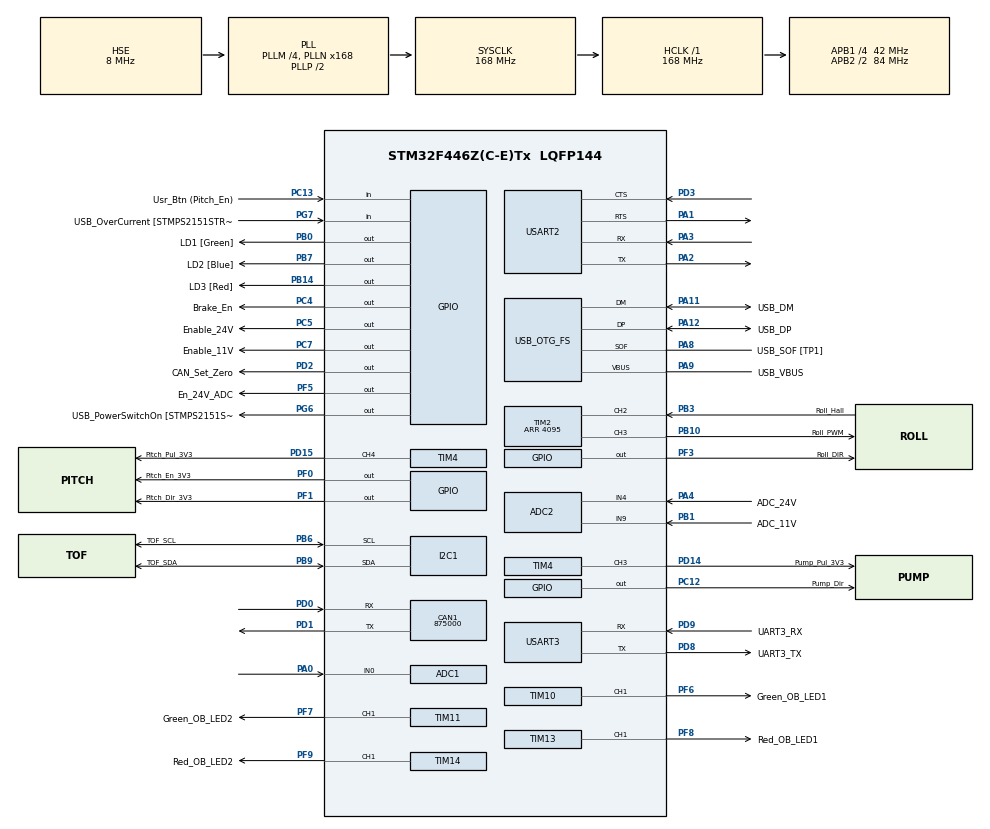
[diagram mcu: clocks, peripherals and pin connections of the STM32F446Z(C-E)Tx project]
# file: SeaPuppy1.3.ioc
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ADC1.Channel-1\#ChannelRegularConversion=ADC_CHANNEL_0
ADC1.NbrOfConversionFlag=1
ADC1.Rank-1\#ChannelRegularConversion=1
ADC1.SamplingTime-1\#ChannelRegularConversion=ADC_SAMPLETIME_3CYCLES
ADC1.master=1
ADC2.Channel-4\#ChannelRegularConversion=ADC_CHANNEL_4
ADC2.NbrOfConversionFlag=1
ADC2.Rank-4\#ChannelRegularConversion=1
ADC2.SamplingTime-4\#ChannelRegularConversion=ADC_SAMPLETIME_3CYCLES
CAN1.CalculateBaudRate=875000
CAN1.CalculateTimeBit=1142
CAN1.CalculateTimeQuantum=380.95238095238096
Dma.Request0=USART3_RX
Dma.Request1=USART3_TX
Dma.USART3_RX.0.Direction=DMA_PERIPH_TO_MEMORY
Dma.USART3_RX.0.FIFOMode=DMA_FIFOMODE_DISABLE
Dma.USART3_RX.0.Instance=DMA1_Stream1
Dma.USART3_RX.0.MemDataAlignment=DMA_MDATAALIGN_BYTE
Dma.USART3_RX.0.MemInc=DMA_MINC_ENABLE
Dma.USART3_RX.0.Mode=DMA_CIRCULAR
Dma.USART3_RX.0.PeriphDataAlignment=DMA_PDATAALIGN_BYTE
Dma.USART3_RX.0.PeriphInc=DMA_PINC_DISABLE
Dma.USART3_RX.0.Priority=DMA_PRIORITY_VERY_HIGH
Dma.USART3_TX.1.Direction=DMA_MEMORY_TO_PERIPH
Dma.USART3_TX.1.FIFOMode=DMA_FIFOMODE_DISABLE
Dma.USART3_TX.1.Instance=DMA1_Stream3
Dma.USART3_TX.1.MemDataAlignment=DMA_MDATAALIGN_BYTE
Dma.USART3_TX.1.MemInc=DMA_MINC_ENABLE
Dma.USART3_TX.1.Mode=DMA_NORMAL
Dma.USART3_TX.1.PeriphDataAlignment=DMA_PDATAALIGN_BYTE
Dma.USART3_TX.1.PeriphInc=DMA_PINC_DISABLE
Dma.USART3_TX.1.Priority=DMA_PRIORITY_VERY_HIGH
FREERTOS.Tasks01=defaultTask,24,3000,StartDefaultTask,Default,NULL,Static,defaultTaskBuffer,defaultTaskControlBlock;Actuate,24,128,StartActuate,Default,NULL,Static,ActuateBuffer,ActuateControlBlock;tofDistTask,24,128,StartDistTask,Default,NULL,Static,tosDistTaskBuffer,tosDistTaskControlBlock;rollEncoderTask,24,128,StartRollTask,Default,NULL,Static,rollEncoderTaskBuffer,rollEncoderTaskControlBlock
FREERTOS.configUSE_NEWLIB_REENTRANT=1
Mcu.Family=STM32F4
Mcu.Name=STM32F446Z(C-E)Tx
Mcu.Package=LQFP144
NVIC.DMA1_Stream1_IRQn=true\:5\:0\:false\:false\:true\:true\:false\:true\:true
NVIC.DMA1_Stream3_IRQn=true\:5\:0\:false\:false\:true\:true\:false\:true\:true
NVIC.PriorityGroup=NVIC_PRIORITYGROUP_4
NVIC.TIM1_UP_TIM10_IRQn=true\:15\:0\:false\:false\:true\:false\:false\:true\:true
NVIC.TIM2_IRQn=true\:5\:0\:false\:false\:true\:true\:true\:true\:true
NVIC.TimeBase=TIM1_UP_TIM10_IRQn
NVIC.TimeBaseIP=TIM1
NVIC.USART3_IRQn=true\:5\:0\:false\:false\:true\:true\:true\:true\:true
PA0-WKUP.Signal=ADCx_IN0
PA1.Mode=CTS_RTS
PA1.Signal=USART2_RTS
PA11.GPIO_Label=USB_DM
PA11.Mode=Device_Only
PA11.Signal=USB_OTG_FS_DM
PA12.GPIO_Label=USB_DP
PA12.Mode=Device_Only
PA12.Signal=USB_OTG_FS_DP
PA13.GPIO_Label=TMS
PA13.Mode=Serial_Wire
PA13.Signal=SYS_JTMS-SWDIO
PA14.GPIO_Label=TCK
PA14.Mode=Serial_Wire
PA14.Signal=SYS_JTCK-SWCLK
PA2.Mode=Asynchronous
PA2.Signal=USART2_TX
PA3.Mode=Asynchronous
PA3.Signal=USART2_RX
PA4.GPIO_Label=ADC_24V
PA4.Signal=ADCx_IN4
PA8.GPIO_Label=USB_SOF [TP1]
PA8.Mode=Activate_SOF_FS
PA8.Signal=USB_OTG_FS_SOF
PA9.GPIO_Label=USB_VBUS
PA9.Mode=Activate_VBUS
PA9.Signal=USB_OTG_FS_VBUS
PB0.GPIO_Label=LD1 [Green]
PB0.Signal=GPIO_Output
PB1.GPIO_Label=ADC_11V
PB1.Signal=ADCx_IN9
PB10.GPIO_Label=Roll_PWM
PB10.Signal=S_TIM2_CH3
PB14.GPIO_Label=LD3 [Red]
PB14.Signal=GPIO_Output
PB3.GPIO_Label=Roll_Hall
PB3.Signal=S_TIM2_CH2
PB6.GPIO_Label=TOF_SCL
PB6.Mode=I2C
PB6.Signal=I2C1_SCL
PB7.GPIO_Label=LD2 [Blue]
PB7.Signal=GPIO_Output
PB9.GPIO_Label=TOF_SDA
PB9.Mode=I2C
PB9.Signal=I2C1_SDA
PC12.GPIO_Label=Pump_Dir
PC12.Signal=GPIO_Output
PC13.GPIO_Label=Usr_Btn (Pitch_En)
PC13.GPIO_PuPd=GPIO_PULLUP
PC13.Signal=GPIO_Input
PC14-OSC32_IN.Mode=LSE-External-Oscillator
PC14-OSC32_IN.Signal=RCC_OSC32_IN
PC15-OSC32_OUT.Mode=LSE-External-Oscillator
PC15-OSC32_OUT.Signal=RCC_OSC32_OUT
PC4.GPIO_Label=Brake_En
PC4.Signal=GPIO_Output
PC5.GPIO_Label=Enable_24V
PC5.Signal=GPIO_Output
PC7.GPIO_Label=Enable_11V
PC7.Signal=GPIO_Output
PD0.Mode=CAN_Activate
PD0.Signal=CAN1_RX
PD1.Mode=CAN_Activate
PD1.Signal=CAN1_TX
PD14.GPIO_Label=Pump_Pul_3V3
PD14.Signal=S_TIM4_CH3
PD15.GPIO_Label=Pitch_Pul_3V3
PD15.Signal=S_TIM4_CH4
PD2.GPIO_Label=CAN_Set_Zero
PD2.Signal=GPIO_Output
PD3.Mode=CTS_RTS
PD3.Signal=USART2_CTS
PD8.GPIO_Label=UART3_TX
PD8.Mode=Asynchronous
PD8.Signal=USART3_TX
PD9.GPIO_Label=UART3_RX
PD9.Mode=Asynchronous
PD9.Signal=USART3_RX
PF0.GPIO_Label=Pitch_En_3V3
PF0.Signal=GPIO_Output
PF1.GPIO_Label=Pitch_Dir_3V3
PF1.Signal=GPIO_Output
PF3.GPIO_Label=Roll_DIR
PF3.Signal=GPIO_Output
PF5.GPIO_Label=En_24V_ADC
PF5.Signal=GPIO_Output
PF6.GPIO_Label=Green_OB_LED1
PF6.Signal=S_TIM10_CH1
PF7.GPIO_Label=Green_OB_LED2
PF7.Signal=S_TIM11_CH1
PF8.GPIO_Label=Red_OB_LED1
PF8.Signal=S_TIM13_CH1
PF9.GPIO_Label=Red_OB_LED2
PF9.Signal=S_TIM14_CH1
PG6.GPIO_Label=USB_PowerSwitchOn [STMPS2151STR_EN]
PG6.Signal=GPIO_Output
PG7.GPIO_Label=USB_OverCurrent [STMPS2151STR_FAULT]
PG7.Signal=GPIO_Input
PH0-OSC_IN.GPIO_Label=MCO [STM32F103CBT6_PA8]
PH0-OSC_IN.Mode=HSE-External-Oscillator
PH0-OSC_IN.Signal=RCC_OSC_IN
PH1-OSC_OUT.Mode=HSE-External-Oscillator
PH1-OSC_OUT.Signal=RCC_OSC_OUT
ProjectManager.HeapSize=0x200
ProjectManager.StackSize=0x400
ProjectManager.TargetToolchain=STM32CubeIDE
RCC.48MHZClocksFreq_Value=24000000
RCC.AHBFreq_Value=168000000
RCC.APB1CLKDivider=RCC_HCLK_DIV4
RCC.APB1Freq_Value=42000000
RCC.APB1TimFreq_Value=84000000
RCC.APB2CLKDivider=RCC_HCLK_DIV2
RCC.APB2Freq_Value=84000000
RCC.APB2TimFreq_Value=168000000
RCC.CortexFreq_Value=168000000
RCC.HCLKFreq_Value=168000000
RCC.HSE_VALUE=8000000
RCC.HSI_VALUE=16000000
RCC.PLLM=4
RCC.PLLMUL=RCC_PLL_MUL9
RCC.PLLN=168
RCC.PLLQ=7
RCC.PRESCALERUSB=RCC_USBCLKSOURCE_PLL_DIV1_5
RCC.SYSCLKFreq_VALUE=168000000
RCC.SYSCLKSource=RCC_SYSCLKSOURCE_PLLCLK
RCC.SYSCLKSourceVirtual=RCC_SYSCLKSOURCE_PLLCLK
RCC.USBFreq_Value=48000000
RCC.VCOOutputFreq_Value=336000000
SH.ADCx_IN0.0=ADC1_IN0,IN0
SH.ADCx_IN4.0=ADC2_IN4,IN4
SH.ADCx_IN9.0=ADC2_IN9,IN9
SH.S_TIM10_CH1.0=TIM10_CH1,PWM Generation1 CH1
SH.S_TIM11_CH1.0=TIM11_CH1,PWM Generation1 CH1
SH.S_TIM13_CH1.0=TIM13_CH1,PWM Generation1 CH1
SH.S_TIM14_CH1.0=TIM14_CH1,PWM Generation1 CH1
SH.S_TIM2_CH2.0=TIM2_CH2,Input_Capture2_from_TI2
SH.S_TIM2_CH3.0=TIM2_CH3,PWM Generation3 CH3
SH.S_TIM4_CH3.0=TIM4_CH3,PWM Generation3 CH3
SH.S_TIM4_CH4.0=TIM4_CH4,PWM Generation4 CH4
TIM10.Channel=TIM_CHANNEL_1
TIM11.Channel=TIM_CHANNEL_1
TIM13.Channel=TIM_CHANNEL_1
TIM14.Channel=TIM_CHANNEL_1
TIM2.AutoReloadPreload=TIM_AUTORELOAD_PRELOAD_ENABLE
TIM2.Channel-Input_Capture2_from_TI2=TIM_CHANNEL_2
TIM2.Channel-PWM\ Generation3\ CH3=TIM_CHANNEL_3
TIM2.Period=4095
TIM2.Pulse-PWM\ Generation3\ CH3=2047
TIM4.AutoReloadPreload=TIM_AUTORELOAD_PRELOAD_ENABLE
TIM4.Channel-PWM\ Generation3\ CH3=TIM_CHANNEL_3
TIM4.Channel-PWM\ Generation4\ CH4=TIM_CHANNEL_4
TIM4.Pulse-PWM\ Generation3\ CH3=32765
TIM4.Pulse-PWM\ Generation4\ CH4=32765
USART2.VirtualMode=VM_ASYNC
USART3.VirtualMode=VM_ASYNC
USB_OTG_FS.VirtualMode=Device_Only
VP_FREERTOS_VS_CMSIS_V2.Mode=CMSIS_V2
VP_SYS_VS_tim1.Mode=TIM1
VP_TIM10_VS_ClockSourceINT.Mode=Enable_Timer
VP_TIM11_VS_ClockSourceINT.Mode=Enable_Timer
VP_TIM13_VS_ClockSourceINT.Mode=Enable_Timer
VP_TIM14_VS_ClockSourceINT.Mode=Enable_Timer
VP_TIM2_VS_ClockSourceINT.Mode=Internal
VP_TIM4_VS_ClockSourceINT.Mode=Internal
board=NUCLEO-F446ZE

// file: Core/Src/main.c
/* USER CODE BEGIN Header */
/**
  ******************************************************************************
  * @file           : main.c
  * @brief          : Main program body
  ******************************************************************************
  * @attention
  *
  * Copyright (c) 2025 STMicroelectronics.
  * All rights reserved.
  *
  * This software is licensed under terms that can be found in the LICENSE file
  * in the root directory of this software component.
  * If no LICENSE file comes with this software, it is provided AS-IS.
  *
  ******************************************************************************
  */
/* USER CODE END Header */
#include "main.h"
#include "cmsis_os.h"

/* USER CODE BEGIN Includes */
// Micro-ROS definitions
#include <rcl/rcl.h>
#include <rcl/error_handling.h>
#include <rclc/rclc.h>
#include <rclc/executor.h>
#include <uxr/client/transport.h>
#include <rmw_microxrcedds_c/config.h>
#include <rmw_microros/rmw_microros.h>

// std_msgs for Micro-ROS
#include <std_msgs/msg/int32.h>
#include <std_msgs/msg/u_int16.h>
#include <std_msgs/msg/string.h>

// UVEEC Custom Interface
#include <uveec_custom_interfaces/msg/raspberry_sensors_interface.h>
#include <uveec_custom_interfaces/msg/stm_sensors_interface.h>

// RCL return Check
#define RCCHECK(fn) { rcl_ret_t temp_rc = fn; if((temp_rc != RCL_RET_OK)){error_loop();}}
#define RCSOFTCHECK(fn) { rcl_ret_t temp_rc = fn; if((temp_rc != RCL_RET_OK)){error_loop();}}

// TOF sensor
#include "VL53L0X.h"
#include "stdio.h"
/* USER CODE END Includes */

typedef StaticTask_t osStaticThreadDef_t;

ADC_HandleTypeDef hadc1;
ADC_HandleTypeDef hadc2;

CAN_HandleTypeDef hcan1;

I2C_HandleTypeDef hi2c1;

TIM_HandleTypeDef htim2;
TIM_HandleTypeDef htim4;
TIM_HandleTypeDef htim10;
TIM_HandleTypeDef htim11;
TIM_HandleTypeDef htim13;
TIM_HandleTypeDef htim14;

UART_HandleTypeDef huart2;
UART_HandleTypeDef huart3;
DMA_HandleTypeDef hdma_usart3_rx;
DMA_HandleTypeDef hdma_usart3_tx;

PCD_HandleTypeDef hpcd_USB_OTG_FS;

/* Definitions for defaultTask */
osThreadId_t defaultTaskHandle;
uint32_t defaultTaskBuffer[ 3000 ];
osStaticThreadDef_t defaultTaskControlBlock;
const osThreadAttr_t defaultTask_attributes = {
  .name = "defaultTask",
  .cb_mem = &defaultTaskControlBlock,
  .cb_size = sizeof(defaultTaskControlBlock),
  .stack_mem = &defaultTaskBuffer[0],
  .stack_size = sizeof(defaultTaskBuffer),
  .priority = (osPriority_t) osPriorityNormal,
};
/* Definitions for Actuate */
osThreadId_t ActuateHandle;
uint32_t ActuateBuffer[ 128 ];
osStaticThreadDef_t ActuateControlBlock;
const osThreadAttr_t Actuate_attributes = {
  .name = "Actuate",
  .cb_mem = &ActuateControlBlock,
  .cb_size = sizeof(ActuateControlBlock),
  .stack_mem = &ActuateBuffer[0],
  .stack_size = sizeof(ActuateBuffer),
  .priority = (osPriority_t) osPriorityNormal,
};
/* Definitions for tofDistTask */
osThreadId_t tofDistTaskHandle;
uint32_t tosDistTaskBuffer[ 128 ];
osStaticThreadDef_t tosDistTaskControlBlock;
const osThreadAttr_t tofDistTask_attributes = {
  .name = "tofDistTask",
  .cb_mem = &tosDistTaskControlBlock,
  .cb_size = sizeof(tosDistTaskControlBlock),
  .stack_mem = &tosDistTaskBuffer[0],
  .stack_size = sizeof(tosDistTaskBuffer),
  .priority = (osPriority_t) osPriorityNormal,
};
/* Definitions for rollEncoderTask */
osThreadId_t rollEncoderTaskHandle;
uint32_t rollEncoderTaskBuffer[ 128 ];
osStaticThreadDef_t rollEncoderTaskControlBlock;
const osThreadAttr_t rollEncoderTask_attributes = {
  .name = "rollEncoderTask",
  .cb_mem = &rollEncoderTaskControlBlock,
  .cb_size = sizeof(rollEncoderTaskControlBlock),
  .stack_mem = &rollEncoderTaskBuffer[0],
  .stack_size = sizeof(rollEncoderTaskBuffer),
  .priority = (osPriority_t) osPriorityNormal,
};
/* USER CODE BEGIN PV */
rcl_node_t node;
rclc_support_t support;
rcl_allocator_t allocator;
rclc_executor_t executor;

// publisher
rcl_publisher_t publisher;

uveec_custom_interfaces__msg__StmSensorsInterface pub_msg;
rcl_timer_t timer;

// subscriber
rcl_subscription_t subscriber;
uveec_custom_interfaces__msg__RaspberrySensorsInterface sub_msg;

const unsigned int timer_period = RCL_MS_TO_NS(10);
const int timeout_ms = 1000;
const float min_tof_distance = 40.7;
const float max_tof_distance = 161.6;

int32_t blinkCounter = 5;
float depthsensor = 0;
float rollHull = 0;

volatile uint32_t last_ts = 0;
volatile uint32_t last_period = 0;
volatile uint32_t pulse_count = 0;
volatile float rpm = 0;

uint16_t distance;
int pitch_direction = 0;
/* USER CODE END PV */

void SystemClock_Config(void);
static void MX_GPIO_Init(void);
static void MX_DMA_Init(void);
static void MX_USART3_UART_Init(void);
static void MX_USB_OTG_FS_PCD_Init(void);
static void MX_TIM4_Init(void);
static void MX_ADC1_Init(void);
static void MX_CAN1_Init(void);
static void MX_USART2_UART_Init(void);
static void MX_I2C1_Init(void);
static void MX_TIM2_Init(void);
static void MX_ADC2_Init(void);
static void MX_TIM10_Init(void);
static void MX_TIM11_Init(void);
static void MX_TIM13_Init(void);
static void MX_TIM14_Init(void);
void StartDefaultTask(void *argument);
void StartActuate(void *argument);
void StartDistTask(void *argument);
void StartRollTask(void *argument);

/* USER CODE BEGIN PFP */
void subscription_callback(const void *msgin);

void error_loop(){}
/* USER CODE END PFP */

/* USER CODE BEGIN 0 */
// subscription_callback. Triggered by subscriber executor
void subscription_callback(const void * msgin)
{
  // Cast received message to used type
  // const std_msgs__msg__Int32 * msg = (const std_msgs__msg__Int32 *)msgin;
  const uveec_custom_interfaces__msg__RaspberrySensorsInterface * raspmsg = (const uveec_custom_interfaces__msg__RaspberrySensorsInterface *) msgin;

  // Process message
  // blinkCounter = msg->data;
  blinkCounter = (int) raspmsg->depthsensor;
  pub_msg.gpslatitude = (int) raspmsg->depthsensor;
}

void timer_callback(rcl_timer_t *timer, int64_t last_call_time) {
	// static uint8_t cnt = 0;

	// if (timer != NULL) {
		// Sync micro-ROS session
		// rmw_uros_sync_session(timeout_ms);

		// Toggle LED every 50 cycles (approximately every 0.5 seconds)
		// if (cnt == 0)
			// HAL_GPIO_TogglePin(LD2_GPIO_Port, LD2_Pin);
		// cnt = (cnt + 1) % 50;

		// pub_msg.data++;
		// TODO pub_msg.gpslatitude = 0;
		// TODO pub_msg.gpslongitude = 1;
		// TODO pub_msg.micropumpencoder = depthsensor;
		// TODO pub_msg.pitchencoder = 2;
		// TODO pub_msg.rollencoder = 3;

		// Publish the message
		// rcl_publish(&publisher, &pub_msg, NULL);
		// rcl_publish(&dist_publisher, &dist_msg, NULL);

		// Reinitialize watchdog timer
		// HAL_IWDG_Init(&hiwdg);
	// }
}

// Using TIM2_CH1 for FG signal
void HAL_TIM_IC_CaptureCallback(TIM_HandleTypeDef *htim) {
    if(htim->Channel == HAL_TIM_ACTIVE_CHANNEL_1) {
        static uint32_t lastCapture = 0;
        uint32_t now = HAL_TIM_ReadCapturedValue(htim, TIM_CHANNEL_1);
        uint32_t period = (now >= lastCapture) ? (now - lastCapture) : (0xFFFF - lastCapture + now);
        lastCapture = now;

        float freq = (float)HAL_RCC_GetPCLK1Freq() / (htim->Init.Prescaler + 1) / period;
        rpm = (60.0f * freq) / 9.0f;
        rpm = 1;
        // store rpm somewhere
    }
}

float get_angle_deg(void) {
    // coarse sector:
    uint32_t sector = (pulse_count % 9);
    float base = sector * 40.0f;
    // fraction interpolation:
    uint32_t now = HAL_GetTick();
    uint32_t elapsed = (now >= last_ts) ? (now - last_ts) : (0xFFFFFFFF - last_ts + now);
    float fraction = (last_period > 0) ? ((float)elapsed / (float)last_period) : 0.0f;
    if (fraction > 1.0f) fraction = 1.0f;
    return (int32_t) rpm;
}

int change_pitch_direction(int dir) {
	if (pitch_direction == 0 && dir == 1) { // pitch motor is getting closer to tof
		HAL_TIM_PWM_Stop(&htim4, TIM_CHANNEL_4);
		HAL_Delay(100);
		HAL_GPIO_WritePin(Pitch_Dir_3V3_GPIO_Port, Pitch_Dir_3V3_Pin, GPIO_PIN_SET);
		HAL_GPIO_WritePin(LD1_GPIO_Port, LD1_Pin, GPIO_PIN_SET);
		HAL_Delay(100);
		HAL_TIM_PWM_Start(&htim4, TIM_CHANNEL_4);
		pitch_direction = 1;
		return 1;
	} else if (pitch_direction == 1 && dir == 0) { // pitch motor is getting further from tof
		HAL_TIM_PWM_Stop(&htim4, TIM_CHANNEL_4);
		HAL_Delay(100);
		HAL_GPIO_WritePin(Pitch_Dir_3V3_GPIO_Port, Pitch_Dir_3V3_Pin, GPIO_PIN_RESET);
		HAL_GPIO_WritePin(LD1_GPIO_Port, LD1_Pin, GPIO_PIN_RESET);
		HAL_Delay(100);
		HAL_TIM_PWM_Start(&htim4, TIM_CHANNEL_4);
		pitch_direction = 0;
		return 0;
	}
	return -1;
}

/* USER CODE END 0 */

int main(void)
{

  /* USER CODE BEGIN 1 */
	blinkCounter = 5;

  /* USER CODE END 1 */

  /* MCU Configuration--------------------------------------------------------*/

  /* Reset of all peripherals, Initializes the Flash interface and the Systick. */
  HAL_Init();

  /* Configure the system clock */
  SystemClock_Config();

  /* Initialize all configured peripherals */
  MX_GPIO_Init();
  MX_DMA_Init();
  MX_USART3_UART_Init();
  MX_USB_OTG_FS_PCD_Init();
  MX_TIM4_Init();
  MX_ADC1_Init();
  MX_CAN1_Init();
  MX_USART2_UART_Init();
  MX_I2C1_Init();
  MX_TIM2_Init();
  MX_ADC2_Init();
  MX_TIM10_Init();
  MX_TIM11_Init();
  MX_TIM13_Init();
  MX_TIM14_Init();
  /* USER CODE BEGIN 2 */

  HAL_GPIO_WritePin(LD3_GPIO_Port, LD3_Pin, GPIO_PIN_SET);

  while (blinkCounter > 0)
  {
	HAL_GPIO_WritePin(GPIOB, LD2_Pin, GPIO_PIN_SET);
	HAL_Delay(100);
	HAL_GPIO_WritePin(GPIOB, LD2_Pin, GPIO_PIN_RESET);
	HAL_Delay(100);
	blinkCounter -= 1;
  }

  HAL_TIM_PWM_Start(&htim2, TIM_CHANNEL_3);
  while(HAL_GPIO_ReadPin(Roll_Hall_GPIO_Port, Roll_Hall_Pin) == GPIO_PIN_SET) {

  }
  htim2.Instance->CCR3 = 4095;
  HAL_TIM_PWM_Stop(&htim2, TIM_CHANNEL_3);
  HAL_GPIO_WritePin(LD3_GPIO_Port, LD3_Pin, GPIO_PIN_RESET);
  /* USER CODE END 2 */

  /* Init scheduler */
  osKernelInitialize();

  /* Create the thread(s) */
  /* creation of defaultTask */
  defaultTaskHandle = osThreadNew(StartDefaultTask, NULL, &defaultTask_attributes);

  /* creation of Actuate */
  ActuateHandle = osThreadNew(StartActuate, NULL, &Actuate_attributes);

  /* creation of tofDistTask */
  tofDistTaskHandle = osThreadNew(StartDistTask, NULL, &tofDistTask_attributes);

  /* creation of rollEncoderTask */
  rollEncoderTaskHandle = osThreadNew(StartRollTask, NULL, &rollEncoderTask_attributes);

  /* Start scheduler */
  osKernelStart();

  /* We should never get here as control is now taken by the scheduler */

  /* Infinite loop */
  while (1)
  {

  }
}

void SystemClock_Config(void)
{
  RCC_OscInitTypeDef RCC_OscInitStruct = {0};
  RCC_ClkInitTypeDef RCC_ClkInitStruct = {0};

  /** Configure the main internal regulator output voltage
  */
  __HAL_RCC_PWR_CLK_ENABLE();
  __HAL_PWR_VOLTAGESCALING_CONFIG(PWR_REGULATOR_VOLTAGE_SCALE1);

  /** Initializes the RCC Oscillators according to the specified parameters
  * in the RCC_OscInitTypeDef structure.
  */
  RCC_OscInitStruct.OscillatorType = RCC_OSCILLATORTYPE_HSE;
  RCC_OscInitStruct.HSEState = RCC_HSE_ON;
  RCC_OscInitStruct.PLL.PLLState = RCC_PLL_ON;
  RCC_OscInitStruct.PLL.PLLSource = RCC_PLLSOURCE_HSE;
  RCC_OscInitStruct.PLL.PLLM = 4;
  RCC_OscInitStruct.PLL.PLLN = 168;
  RCC_OscInitStruct.PLL.PLLP = RCC_PLLP_DIV2;
  RCC_OscInitStruct.PLL.PLLQ = 7;
  RCC_OscInitStruct.PLL.PLLR = 2;
  if (HAL_RCC_OscConfig(&RCC_OscInitStruct) != HAL_OK)
  {
    Error_Handler();
  }

  /** Initializes the CPU, AHB and APB buses clocks
  */
  RCC_ClkInitStruct.ClockType = RCC_CLOCKTYPE_HCLK|RCC_CLOCKTYPE_SYSCLK
                              |RCC_CLOCKTYPE_PCLK1|RCC_CLOCKTYPE_PCLK2;
  RCC_ClkInitStruct.SYSCLKSource = RCC_SYSCLKSOURCE_PLLCLK;
  RCC_ClkInitStruct.AHBCLKDivider = RCC_SYSCLK_DIV1;
  RCC_ClkInitStruct.APB1CLKDivider = RCC_HCLK_DIV4;
  RCC_ClkInitStruct.APB2CLKDivider = RCC_HCLK_DIV2;

  if (HAL_RCC_ClockConfig(&RCC_ClkInitStruct, FLASH_LATENCY_5) != HAL_OK)
  {
    Error_Handler();
  }
}

static void MX_ADC1_Init(void)
{

  ADC_ChannelConfTypeDef sConfig = {0};

  /** Configure the global features of the ADC (Clock, Resolution, Data Alignment and number of conversion)
  */
  hadc1.Instance = ADC1;
  hadc1.Init.ClockPrescaler = ADC_CLOCK_SYNC_PCLK_DIV4;
  hadc1.Init.Resolution = ADC_RESOLUTION_12B;
  hadc1.Init.ScanConvMode = DISABLE;
  hadc1.Init.ContinuousConvMode = DISABLE;
  hadc1.Init.DiscontinuousConvMode = DISABLE;
  hadc1.Init.ExternalTrigConvEdge = ADC_EXTERNALTRIGCONVEDGE_NONE;
  hadc1.Init.ExternalTrigConv = ADC_SOFTWARE_START;
  hadc1.Init.DataAlign = ADC_DATAALIGN_RIGHT;
  hadc1.Init.NbrOfConversion = 1;
  hadc1.Init.DMAContinuousRequests = DISABLE;
  hadc1.Init.EOCSelection = ADC_EOC_SINGLE_CONV;
  if (HAL_ADC_Init(&hadc1) != HAL_OK)
  {
    Error_Handler();
  }

  /** Configure for the selected ADC regular channel its corresponding rank in the sequencer and its sample time.
  */
  sConfig.Channel = ADC_CHANNEL_0;
  sConfig.Rank = 1;
  sConfig.SamplingTime = ADC_SAMPLETIME_3CYCLES;
  if (HAL_ADC_ConfigChannel(&hadc1, &sConfig) != HAL_OK)
  {
    Error_Handler();
  }

}

static void MX_ADC2_Init(void)
{

  ADC_ChannelConfTypeDef sConfig = {0};

  /** Configure the global features of the ADC (Clock, Resolution, Data Alignment and number of conversion)
  */
  hadc2.Instance = ADC2;
  hadc2.Init.ClockPrescaler = ADC_CLOCK_SYNC_PCLK_DIV4;
  hadc2.Init.Resolution = ADC_RESOLUTION_12B;
  hadc2.Init.ScanConvMode = DISABLE;
  hadc2.Init.ContinuousConvMode = DISABLE;
  hadc2.Init.DiscontinuousConvMode = DISABLE;
  hadc2.Init.ExternalTrigConvEdge = ADC_EXTERNALTRIGCONVEDGE_NONE;
  hadc2.Init.ExternalTrigConv = ADC_SOFTWARE_START;
  hadc2.Init.DataAlign = ADC_DATAALIGN_RIGHT;
  hadc2.Init.NbrOfConversion = 1;
  hadc2.Init.DMAContinuousRequests = DISABLE;
  hadc2.Init.EOCSelection = ADC_EOC_SINGLE_CONV;
  if (HAL_ADC_Init(&hadc2) != HAL_OK)
  {
    Error_Handler();
  }

  /** Configure for the selected ADC regular channel its corresponding rank in the sequencer and its sample time.
  */
  sConfig.Channel = ADC_CHANNEL_4;
  sConfig.Rank = 1;
  sConfig.SamplingTime = ADC_SAMPLETIME_3CYCLES;
  if (HAL_ADC_ConfigChannel(&hadc2, &sConfig) != HAL_OK)
  {
    Error_Handler();
  }

}

static void MX_CAN1_Init(void)
{

  hcan1.Instance = CAN1;
  hcan1.Init.Prescaler = 16;
  hcan1.Init.Mode = CAN_MODE_NORMAL;
  hcan1.Init.SyncJumpWidth = CAN_SJW_1TQ;
  hcan1.Init.TimeSeg1 = CAN_BS1_1TQ;
  hcan1.Init.TimeSeg2 = CAN_BS2_1TQ;
  hcan1.Init.TimeTriggeredMode = DISABLE;
  hcan1.Init.AutoBusOff = DISABLE;
  hcan1.Init.AutoWakeUp = DISABLE;
  hcan1.Init.AutoRetransmission = DISABLE;
  hcan1.Init.ReceiveFifoLocked = DISABLE;
  hcan1.Init.TransmitFifoPriority = DISABLE;
  if (HAL_CAN_Init(&hcan1) != HAL_OK)
  {
    Error_Handler();
  }

}

static void MX_I2C1_Init(void)
{

  hi2c1.Instance = I2C1;
  hi2c1.Init.ClockSpeed = 100000;
  hi2c1.Init.DutyCycle = I2C_DUTYCYCLE_2;
  hi2c1.Init.OwnAddress1 = 0;
  hi2c1.Init.AddressingMode = I2C_ADDRESSINGMODE_7BIT;
  hi2c1.Init.DualAddressMode = I2C_DUALADDRESS_DISABLE;
  hi2c1.Init.OwnAddress2 = 0;
  hi2c1.Init.GeneralCallMode = I2C_GENERALCALL_DISABLE;
  hi2c1.Init.NoStretchMode = I2C_NOSTRETCH_DISABLE;
  if (HAL_I2C_Init(&hi2c1) != HAL_OK)
  {
    Error_Handler();
  }

}

static void MX_TIM2_Init(void)
{

  TIM_ClockConfigTypeDef sClockSourceConfig = {0};
  TIM_MasterConfigTypeDef sMasterConfig = {0};
  TIM_IC_InitTypeDef sConfigIC = {0};
  TIM_OC_InitTypeDef sConfigOC = {0};

  htim2.Instance = TIM2;
  htim2.Init.Prescaler = 0;
  htim2.Init.CounterMode = TIM_COUNTERMODE_UP;
  htim2.Init.Period = 4095;
  htim2.Init.ClockDivision = TIM_CLOCKDIVISION_DIV1;
  htim2.Init.AutoReloadPreload = TIM_AUTORELOAD_PRELOAD_ENABLE;
  if (HAL_TIM_Base_Init(&htim2) != HAL_OK)
  {
    Error_Handler();
  }
  sClockSourceConfig.ClockSource = TIM_CLOCKSOURCE_INTERNAL;
  if (HAL_TIM_ConfigClockSource(&htim2, &sClockSourceConfig) != HAL_OK)
  {
    Error_Handler();
  }
  if (HAL_TIM_IC_Init(&htim2) != HAL_OK)
  {
    Error_Handler();
  }
  if (HAL_TIM_PWM_Init(&htim2) != HAL_OK)
  {
    Error_Handler();
  }
  sMasterConfig.MasterOutputTrigger = TIM_TRGO_RESET;
  sMasterConfig.MasterSlaveMode = TIM_MASTERSLAVEMODE_DISABLE;
  if (HAL_TIMEx_MasterConfigSynchronization(&htim2, &sMasterConfig) != HAL_OK)
  {
    Error_Handler();
  }
  sConfigIC.ICPolarity = TIM_INPUTCHANNELPOLARITY_RISING;
  sConfigIC.ICSelection = TIM_ICSELECTION_DIRECTTI;
  sConfigIC.ICPrescaler = TIM_ICPSC_DIV1;
  sConfigIC.ICFilter = 0;
  if (HAL_TIM_IC_ConfigChannel(&htim2, &sConfigIC, TIM_CHANNEL_2) != HAL_OK)
  {
    Error_Handler();
  }
  sConfigOC.OCMode = TIM_OCMODE_PWM1;
  sConfigOC.Pulse = 2047;
  sConfigOC.OCPolarity = TIM_OCPOLARITY_HIGH;
  sConfigOC.OCFastMode = TIM_OCFAST_DISABLE;
  if (HAL_TIM_PWM_ConfigChannel(&htim2, &sConfigOC, TIM_CHANNEL_3) != HAL_OK)
  {
    Error_Handler();
  }
  HAL_TIM_MspPostInit(&htim2);

}

static void MX_TIM4_Init(void)
{

  TIM_ClockConfigTypeDef sClockSourceConfig = {0};
  TIM_MasterConfigTypeDef sMasterConfig = {0};
  TIM_OC_InitTypeDef sConfigOC = {0};

  htim4.Instance = TIM4;
  htim4.Init.Prescaler = 0;
  htim4.Init.CounterMode = TIM_COUNTERMODE_UP;
  htim4.Init.Period = 65535;
  htim4.Init.ClockDivision = TIM_CLOCKDIVISION_DIV1;
  htim4.Init.AutoReloadPreload = TIM_AUTORELOAD_PRELOAD_ENABLE;
  if (HAL_TIM_Base_Init(&htim4) != HAL_OK)
  {
    Error_Handler();
  }
  sClockSourceConfig.ClockSource = TIM_CLOCKSOURCE_INTERNAL;
  if (HAL_TIM_ConfigClockSource(&htim4, &sClockSourceConfig) != HAL_OK)
  {
    Error_Handler();
  }
  if (HAL_TIM_PWM_Init(&htim4) != HAL_OK)
  {
    Error_Handler();
  }
  sMasterConfig.MasterOutputTrigger = TIM_TRGO_RESET;
  sMasterConfig.MasterSlaveMode = TIM_MASTERSLAVEMODE_DISABLE;
  if (HAL_TIMEx_MasterConfigSynchronization(&htim4, &sMasterConfig) != HAL_OK)
  {
    Error_Handler();
  }
  sConfigOC.OCMode = TIM_OCMODE_PWM1;
  sConfigOC.Pulse = 32765;
  sConfigOC.OCPolarity = TIM_OCPOLARITY_HIGH;
  sConfigOC.OCFastMode = TIM_OCFAST_DISABLE;
  if (HAL_TIM_PWM_ConfigChannel(&htim4, &sConfigOC, TIM_CHANNEL_3) != HAL_OK)
  {
    Error_Handler();
  }
  if (HAL_TIM_PWM_ConfigChannel(&htim4, &sConfigOC, TIM_CHANNEL_4) != HAL_OK)
  {
    Error_Handler();
  }
  HAL_TIM_MspPostInit(&htim4);

}

static void MX_TIM10_Init(void)
{

  TIM_OC_InitTypeDef sConfigOC = {0};

  htim10.Instance = TIM10;
  htim10.Init.Prescaler = 0;
  htim10.Init.CounterMode = TIM_COUNTERMODE_UP;
  htim10.Init.Period = 65535;
  htim10.Init.ClockDivision = TIM_CLOCKDIVISION_DIV1;
  htim10.Init.AutoReloadPreload = TIM_AUTORELOAD_PRELOAD_DISABLE;
  if (HAL_TIM_Base_Init(&htim10) != HAL_OK)
  {
    Error_Handler();
  }
  if (HAL_TIM_PWM_Init(&htim10) != HAL_OK)
  {
    Error_Handler();
  }
  sConfigOC.OCMode = TIM_OCMODE_PWM1;
  sConfigOC.Pulse = 0;
  sConfigOC.OCPolarity = TIM_OCPOLARITY_HIGH;
  sConfigOC.OCFastMode = TIM_OCFAST_DISABLE;
  if (HAL_TIM_PWM_ConfigChannel(&htim10, &sConfigOC, TIM_CHANNEL_1) != HAL_OK)
  {
    Error_Handler();
  }
  HAL_TIM_MspPostInit(&htim10);

}

static void MX_TIM11_Init(void)
{

  TIM_OC_InitTypeDef sConfigOC = {0};

  htim11.Instance = TIM11;
  htim11.Init.Prescaler = 0;
  htim11.Init.CounterMode = TIM_COUNTERMODE_UP;
  htim11.Init.Period = 65535;
  htim11.Init.ClockDivision = TIM_CLOCKDIVISION_DIV1;
  htim11.Init.AutoReloadPreload = TIM_AUTORELOAD_PRELOAD_DISABLE;
  if (HAL_TIM_Base_Init(&htim11) != HAL_OK)
  {
    Error_Handler();
  }
  if (HAL_TIM_PWM_Init(&htim11) != HAL_OK)
  {
    Error_Handler();
  }
  sConfigOC.OCMode = TIM_OCMODE_PWM1;
  sConfigOC.Pulse = 0;
  sConfigOC.OCPolarity = TIM_OCPOLARITY_HIGH;
  sConfigOC.OCFastMode = TIM_OCFAST_DISABLE;
  if (HAL_TIM_PWM_ConfigChannel(&htim11, &sConfigOC, TIM_CHANNEL_1) != HAL_OK)
  {
    Error_Handler();
  }
  HAL_TIM_MspPostInit(&htim11);

}

static void MX_TIM13_Init(void)
{

  TIM_OC_InitTypeDef sConfigOC = {0};

  htim13.Instance = TIM13;
  htim13.Init.Prescaler = 0;
  htim13.Init.CounterMode = TIM_COUNTERMODE_UP;
  htim13.Init.Period = 65535;
  htim13.Init.ClockDivision = TIM_CLOCKDIVISION_DIV1;
  htim13.Init.AutoReloadPreload = TIM_AUTORELOAD_PRELOAD_DISABLE;
  if (HAL_TIM_Base_Init(&htim13) != HAL_OK)
  {
    Error_Handler();
  }
  if (HAL_TIM_PWM_Init(&htim13) != HAL_OK)
  {
    Error_Handler();
  }
  sConfigOC.OCMode = TIM_OCMODE_PWM1;
  sConfigOC.Pulse = 0;
  sConfigOC.OCPolarity = TIM_OCPOLARITY_HIGH;
  sConfigOC.OCFastMode = TIM_OCFAST_DISABLE;
  if (HAL_TIM_PWM_ConfigChannel(&htim13, &sConfigOC, TIM_CHANNEL_1) != HAL_OK)
  {
    Error_Handler();
  }
  HAL_TIM_MspPostInit(&htim13);

}

static void MX_TIM14_Init(void)
{

  TIM_OC_InitTypeDef sConfigOC = {0};

  htim14.Instance = TIM14;
  htim14.Init.Prescaler = 0;
  htim14.Init.CounterMode = TIM_COUNTERMODE_UP;
  htim14.Init.Period = 65535;
  htim14.Init.ClockDivision = TIM_CLOCKDIVISION_DIV1;
  htim14.Init.AutoReloadPreload = TIM_AUTORELOAD_PRELOAD_DISABLE;
  if (HAL_TIM_Base_Init(&htim14) != HAL_OK)
  {
    Error_Handler();
  }
  if (HAL_TIM_PWM_Init(&htim14) != HAL_OK)
  {
    Error_Handler();
  }
  sConfigOC.OCMode = TIM_OCMODE_PWM1;
  sConfigOC.Pulse = 0;
  sConfigOC.OCPolarity = TIM_OCPOLARITY_HIGH;
  sConfigOC.OCFastMode = TIM_OCFAST_DISABLE;
  if (HAL_TIM_PWM_ConfigChannel(&htim14, &sConfigOC, TIM_CHANNEL_1) != HAL_OK)
  {
    Error_Handler();
  }
  HAL_TIM_MspPostInit(&htim14);

}

static void MX_USART2_UART_Init(void)
{

  huart2.Instance = USART2;
  huart2.Init.BaudRate = 115200;
  huart2.Init.WordLength = UART_WORDLENGTH_8B;
  huart2.Init.StopBits = UART_STOPBITS_1;
  huart2.Init.Parity = UART_PARITY_NONE;
  huart2.Init.Mode = UART_MODE_TX_RX;
  huart2.Init.HwFlowCtl = UART_HWCONTROL_RTS_CTS;
  huart2.Init.OverSampling = UART_OVERSAMPLING_16;
  if (HAL_UART_Init(&huart2) != HAL_OK)
  {
    Error_Handler();
  }

}

static void MX_USART3_UART_Init(void)
{

  huart3.Instance = USART3;
  huart3.Init.BaudRate = 115200;
  huart3.Init.WordLength = UART_WORDLENGTH_8B;
  huart3.Init.StopBits = UART_STOPBITS_1;
  huart3.Init.Parity = UART_PARITY_NONE;
  huart3.Init.Mode = UART_MODE_TX_RX;
  huart3.Init.HwFlowCtl = UART_HWCONTROL_NONE;
  huart3.Init.OverSampling = UART_OVERSAMPLING_16;
  if (HAL_UART_Init(&huart3) != HAL_OK)
  {
    Error_Handler();
  }

}

static void MX_USB_OTG_FS_PCD_Init(void)
{

  hpcd_USB_OTG_FS.Instance = USB_OTG_FS;
  hpcd_USB_OTG_FS.Init.dev_endpoints = 6;
  hpcd_USB_OTG_FS.Init.speed = PCD_SPEED_FULL;
  hpcd_USB_OTG_FS.Init.dma_enable = DISABLE;
  hpcd_USB_OTG_FS.Init.phy_itface = PCD_PHY_EMBEDDED;
  hpcd_USB_OTG_FS.Init.Sof_enable = ENABLE;
  hpcd_USB_OTG_FS.Init.low_power_enable = DISABLE;
  hpcd_USB_OTG_FS.Init.lpm_enable = DISABLE;
  hpcd_USB_OTG_FS.Init.vbus_sensing_enable = ENABLE;
  hpcd_USB_OTG_FS.Init.use_dedicated_ep1 = DISABLE;
  if (HAL_PCD_Init(&hpcd_USB_OTG_FS) != HAL_OK)
  {
    Error_Handler();
  }

}

static void MX_DMA_Init(void)
{

  /* DMA controller clock enable */
  __HAL_RCC_DMA1_CLK_ENABLE();

  /* DMA interrupt init */
  /* DMA1_Stream1_IRQn interrupt configuration */
  HAL_NVIC_SetPriority(DMA1_Stream1_IRQn, 5, 0);
  HAL_NVIC_EnableIRQ(DMA1_Stream1_IRQn);
  /* DMA1_Stream3_IRQn interrupt configuration */
  HAL_NVIC_SetPriority(DMA1_Stream3_IRQn, 5, 0);
  HAL_NVIC_EnableIRQ(DMA1_Stream3_IRQn);

}

static void MX_GPIO_Init(void)
{
  GPIO_InitTypeDef GPIO_InitStruct = {0};

  /* GPIO Ports Clock Enable */
  __HAL_RCC_GPIOC_CLK_ENABLE();
  __HAL_RCC_GPIOF_CLK_ENABLE();
  __HAL_RCC_GPIOH_CLK_ENABLE();
  __HAL_RCC_GPIOA_CLK_ENABLE();
  __HAL_RCC_GPIOB_CLK_ENABLE();
  __HAL_RCC_GPIOD_CLK_ENABLE();
  __HAL_RCC_GPIOG_CLK_ENABLE();

  /*Configure GPIO pin Output Level */
  HAL_GPIO_WritePin(GPIOF, Pitch_En_3V3_Pin|Pitch_Dir_3V3_Pin|Roll_DIR_Pin|En_24V_ADC_Pin, GPIO_PIN_RESET);

  /*Configure GPIO pin Output Level */
  HAL_GPIO_WritePin(GPIOC, Brake_En_Pin|Enable_24V_Pin|Enable_11V_Pin|Pump_Dir_Pin, GPIO_PIN_RESET);

  /*Configure GPIO pin Output Level */
  HAL_GPIO_WritePin(GPIOB, LD1_Pin|LD3_Pin|LD2_Pin, GPIO_PIN_RESET);

  /*Configure GPIO pin Output Level */
  HAL_GPIO_WritePin(USB_PowerSwitchOn_GPIO_Port, USB_PowerSwitchOn_Pin, GPIO_PIN_RESET);

  /*Configure GPIO pin Output Level */
  HAL_GPIO_WritePin(CAN_Set_Zero_GPIO_Port, CAN_Set_Zero_Pin, GPIO_PIN_RESET);

  /*Configure GPIO pin : Usr_Btn_Pin */
  GPIO_InitStruct.Pin = Usr_Btn_Pin;
  GPIO_InitStruct.Mode = GPIO_MODE_INPUT;
  GPIO_InitStruct.Pull = GPIO_PULLUP;
  HAL_GPIO_Init(Usr_Btn_GPIO_Port, &GPIO_InitStruct);

  /*Configure GPIO pins : Pitch_En_3V3_Pin Pitch_Dir_3V3_Pin Roll_DIR_Pin En_24V_ADC_Pin */
  GPIO_InitStruct.Pin = Pitch_En_3V3_Pin|Pitch_Dir_3V3_Pin|Roll_DIR_Pin|En_24V_ADC_Pin;
  GPIO_InitStruct.Mode = GPIO_MODE_OUTPUT_PP;
  GPIO_InitStruct.Pull = GPIO_NOPULL;
  GPIO_InitStruct.Speed = GPIO_SPEED_FREQ_LOW;
  HAL_GPIO_Init(GPIOF, &GPIO_InitStruct);

  /*Configure GPIO pins : Brake_En_Pin Enable_24V_Pin Enable_11V_Pin Pump_Dir_Pin */
  GPIO_InitStruct.Pin = Brake_En_Pin|Enable_24V_Pin|Enable_11V_Pin|Pump_Dir_Pin;
  GPIO_InitStruct.Mode = GPIO_MODE_OUTPUT_PP;
  GPIO_InitStruct.Pull = GPIO_NOPULL;
  GPIO_InitStruct.Speed = GPIO_SPEED_FREQ_LOW;
  HAL_GPIO_Init(GPIOC, &GPIO_InitStruct);

  /*Configure GPIO pins : LD1_Pin LD3_Pin LD2_Pin */
  GPIO_InitStruct.Pin = LD1_Pin|LD3_Pin|LD2_Pin;
  GPIO_InitStruct.Mode = GPIO_MODE_OUTPUT_PP;
  GPIO_InitStruct.Pull = GPIO_NOPULL;
  GPIO_InitStruct.Speed = GPIO_SPEED_FREQ_LOW;
  HAL_GPIO_Init(GPIOB, &GPIO_InitStruct);

  /*Configure GPIO pin : USB_PowerSwitchOn_Pin */
  GPIO_InitStruct.Pin = USB_PowerSwitchOn_Pin;
  GPIO_InitStruct.Mode = GPIO_MODE_OUTPUT_PP;
  GPIO_InitStruct.Pull = GPIO_NOPULL;
  GPIO_InitStruct.Speed = GPIO_SPEED_FREQ_LOW;
  HAL_GPIO_Init(USB_PowerSwitchOn_GPIO_Port, &GPIO_InitStruct);

  /*Configure GPIO pin : USB_OverCurrent_Pin */
  GPIO_InitStruct.Pin = USB_OverCurrent_Pin;
  GPIO_InitStruct.Mode = GPIO_MODE_INPUT;
  GPIO_InitStruct.Pull = GPIO_NOPULL;
  HAL_GPIO_Init(USB_OverCurrent_GPIO_Port, &GPIO_InitStruct);

  /*Configure GPIO pin : CAN_Set_Zero_Pin */
  GPIO_InitStruct.Pin = CAN_Set_Zero_Pin;
  GPIO_InitStruct.Mode = GPIO_MODE_OUTPUT_PP;
  GPIO_InitStruct.Pull = GPIO_NOPULL;
  GPIO_InitStruct.Speed = GPIO_SPEED_FREQ_LOW;
  HAL_GPIO_Init(CAN_Set_Zero_GPIO_Port, &GPIO_InitStruct);

}

/* USER CODE BEGIN 4 */
// Micro-ROS Cube MX definitions
bool cubemx_transport_open(struct uxrCustomTransport * transport);
bool cubemx_transport_close(struct uxrCustomTransport * transport);
size_t cubemx_transport_write(struct uxrCustomTransport* transport, const uint8_t * buf, size_t len, uint8_t * err);
size_t cubemx_transport_read(struct uxrCustomTransport* transport, uint8_t* buf, size_t len, int timeout, uint8_t* err);

void * microros_allocate(size_t size, void * state);
void microros_deallocate(void * pointer, void * state);
void * microros_reallocate(void * pointer, size_t size, void * state);
void * microros_zero_allocate(size_t number_of_elements, size_t size_of_element, void * state);

/* USER CODE END 4 */

void StartDefaultTask(void *argument)
{
  /* USER CODE BEGIN 5 */

  // micro-ROS configuration
  rmw_uros_set_custom_transport(
    true,
    (void *) &huart3,
    cubemx_transport_open,
    cubemx_transport_close,
    cubemx_transport_write,
    cubemx_transport_read);

  allocator = rcl_get_default_allocator();

  // pub_msg.data = 0;

  //create init_options
  RCCHECK(rclc_support_init(&support, 0, NULL, &allocator));

  // create node
  RCCHECK(rclc_node_init_default(&node, "cubemx_node", "", &support));

  // create publisher
  RCCHECK(rclc_publisher_init_default(
    &publisher,
    &node,
    ROSIDL_GET_MSG_TYPE_SUPPORT(uveec_custom_interfaces, msg, StmSensorsInterface),
    "stm_sensors_topic"));

  // create subscriber
  RCCHECK(rclc_subscription_init_default(
    &subscriber,
    &node,
    ROSIDL_GET_MSG_TYPE_SUPPORT(uveec_custom_interfaces, msg, RaspberrySensorsInterface),
    "raspberry_sensors_topic"));

  // create executor (subscribing)
  RCCHECK(rclc_executor_init(&executor, &support.context, 1, &allocator));
  RCCHECK(rclc_executor_add_subscription(&executor, &subscriber, &sub_msg, &subscription_callback, ON_NEW_DATA));

  pub_msg.gpslatitude = blinkCounter;

  // infintie loop. Might need to change this to use executors
  for(;;)
  {
	// publish to the topic
    rcl_ret_t ret = rcl_publish(&publisher, &pub_msg, NULL);
    if (ret != RCL_RET_OK)
    {
      printf("Error publishing (line %d)\n", __LINE__);
    }

    // counter
    // TODO pub_msg.data++;
    osDelay(200);

    // spin executor to subscribe to topic
    RCCHECK(rclc_executor_spin_some(&executor, RCL_MS_TO_NS(100)));

    // blink the counter by the data received from the topic
    while (blinkCounter > 0)
      {
        HAL_GPIO_WritePin(LD2_GPIO_Port, LD2_Pin, GPIO_PIN_SET);
        HAL_Delay(200);
        HAL_GPIO_WritePin(LD2_GPIO_Port, LD2_Pin, GPIO_PIN_RESET);
        HAL_Delay(200);
        blinkCounter -= 1;
      }
  }

  /* USER CODE END 5 */
}

void StartActuate(void *argument)
{
  /* USER CODE BEGIN StartActuate */
  HAL_GPIO_WritePin(Pitch_En_3V3_GPIO_Port, Pitch_En_3V3_Pin, GPIO_PIN_SET);

  if (distance < min_tof_distance) {
		pitch_direction = 1;
		HAL_Delay(100);
		HAL_GPIO_WritePin(Pitch_Dir_3V3_GPIO_Port, Pitch_Dir_3V3_Pin, GPIO_PIN_SET);
		HAL_GPIO_WritePin(LD1_GPIO_Port, LD1_Pin, GPIO_PIN_SET);
		HAL_Delay(100);
  }
  else {
		pitch_direction = 0;
		HAL_Delay(100);
		HAL_GPIO_WritePin(Pitch_Dir_3V3_GPIO_Port, Pitch_Dir_3V3_Pin, GPIO_PIN_RESET);
		HAL_GPIO_WritePin(LD1_GPIO_Port, LD1_Pin, GPIO_PIN_RESET);
		HAL_Delay(100);
  }

  osDelay(250);
  HAL_TIM_PWM_Start(&htim4, TIM_CHANNEL_4);

  /* Infinite loop */
  for(;;)
  {
	  if (distance < min_tof_distance) {
		  change_pitch_direction(0);
	  }
	  else if (distance > max_tof_distance) {
		  change_pitch_direction(1);
	  }
	  if (HAL_GPIO_ReadPin(Usr_Btn_GPIO_Port, Usr_Btn_Pin) == GPIO_PIN_RESET) {
		  // Button is pressed
		  if (pitch_direction == 1) {
		  		  change_pitch_direction(0);
		  	  }
		  	  else if (pitch_direction == 0) {
		  		  change_pitch_direction(1);
		  	  }
	  }
  }
  /* USER CODE END StartActuate */
}

void StartDistTask(void *argument)
{
  /* USER CODE BEGIN StartDistTask */

	// Initialise the VL53L0X
	statInfo_t_VL53L0X distanceStr;

	  hi2c1.Instance = I2C1;
	  hi2c1.Init.ClockSpeed = 100000;
	  hi2c1.Init.DutyCycle = I2C_DUTYCYCLE_2;
	  hi2c1.Init.OwnAddress1 = 0;
	  hi2c1.Init.AddressingMode = I2C_ADDRESSINGMODE_7BIT;
	  hi2c1.Init.DualAddressMode = I2C_DUALADDRESS_DISABLE;
	  hi2c1.Init.OwnAddress2 = 0;
	  hi2c1.Init.GeneralCallMode = I2C_GENERALCALL_DISABLE;
	  hi2c1.Init.NoStretchMode = I2C_NOSTRETCH_DISABLE;

	initVL53L0X(1, &hi2c1);

	// Configure the sensor for high accuracy and speed in 20 cm.
	setSignalRateLimit(200);
	setVcselPulsePeriod(VcselPeriodPreRange, 10);
	setVcselPulsePeriod(VcselPeriodFinalRange, 14);
	setMeasurementTimingBudget(300 * 1000UL);

  /* Infinite loop */
  for(;;)
  {
	// uint16_t distance is the distance in millimeters.
	// statInfo_t_VL53L0X distanceStr is the statistics read from the sensor.
	distance = readRangeSingleMillimeters(&distanceStr);
	pub_msg.pitchencoder = distance;

	osDelay(1);
  }
  /* USER CODE END StartDistTask */
}

void StartRollTask(void *argument)
{
  /* USER CODE BEGIN StartRollTask */
	HAL_TIM_IC_Start_IT(&htim2, TIM_CHANNEL_1);
  /* Infinite loop */
  for(;;)
  {
    osDelay(1);
  }
  /* USER CODE END StartRollTask */
}

void HAL_TIM_PeriodElapsedCallback(TIM_HandleTypeDef *htim)
{
  if (htim->Instance == TIM1)
  {
    HAL_IncTick();
  }
}

void Error_Handler(void)
{
  __disable_irq();
  while (1)
  {
  }
}
